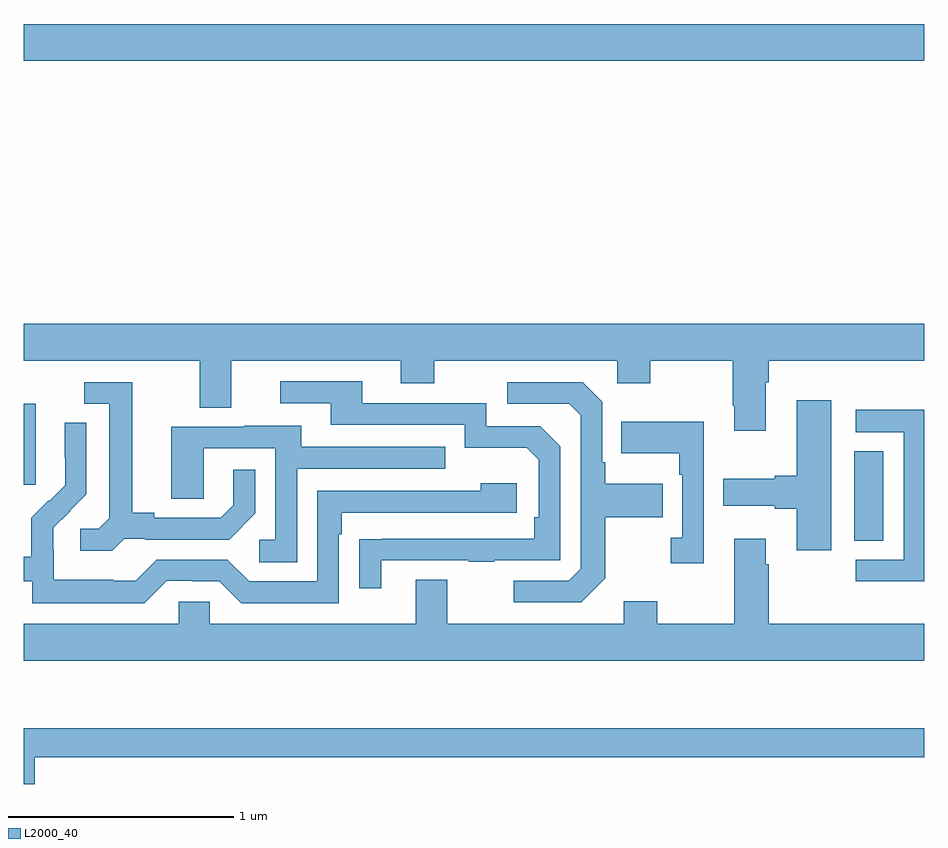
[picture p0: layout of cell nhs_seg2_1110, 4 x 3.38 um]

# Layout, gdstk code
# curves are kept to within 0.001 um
import gdstk
lib = gdstk.Library(unit=1e-6, precision=1e-09)
def R(c, l, rs):  # rectangles x0, y0, x1, y1
    for r in rs: c.add(gdstk.rectangle(r[:2], r[2:], *l))
def P(c, l, *ps):  # polygons
    for p in ps: c.add(gdstk.Polygon(p, *l))
L2000_40 = (2000, 40)

nhs_seg2_1110 = lib.new_cell('nhs_seg2_1110')
R(nhs_seg2_1110, L2000_40, [(172.688,602.881,172.819,603.278), (169,603.129,169.054,603.49), (169,605.012,173,605.176)])
P(nhs_seg2_1110, L2000_40, [(172.297,603.584),(172.31,603.584),(172.31,603.68),(173,603.68),(173,603.844),(169,603.844),(169,603.68),(169.781,603.68),(169.781,603.472),(169.921,603.472),(169.921,603.68),(170.675,603.68),(170.675,603.581),(170.823,603.581),(170.823,603.68),(171.636,603.68),(171.636,603.581),(171.783,603.581),(171.783,603.68),(172.15,603.68),(172.15,603.481),(172.157,603.481),(172.157,603.369),(172.297,603.369)],
  [(170.587,602.793),(170.977,602.793),(170.977,602.788),(171.089,602.788),(171.089,602.793),(171.384,602.793),(171.384,603.3),(171.294,603.39),(171.054,603.39),(171.054,603.492),(170.503,603.492),(170.503,603.588),(170.139,603.588),(170.139,603.492),(170.363,603.492),(170.363,603.396),(170.958,603.396),(170.958,603.293),(171.235,603.293),(171.288,603.24),(171.288,602.986),(171.268,602.986),(171.268,602.889),(170.491,602.888),(170.491,602.67),(170.587,602.67)],
  [(171.583,602.713),(171.583,602.986),(171.839,602.986),(171.839,603.133),(171.583,603.133),(171.583,603.229),(171.57,603.229),(171.57,603.498),(171.483,603.585),(171.147,603.585),(171.147,603.489),(171.423,603.489),(171.474,603.438),(171.474,602.757),(171.42,602.703),(171.177,602.703),(171.177,602.607),(171.477,602.607)],
  [(169.446,602.889),(169.54,602.889),(169.54,602.886),(169.912,602.886),(170.028,603.002),(170.028,603.196),(169.931,603.196),(169.931,603.039),(169.874,602.982),(169.579,602.982),(169.579,603.005),(169.483,603.005),(169.483,603.585),(169.269,603.585),(169.269,603.489),(169.379,603.489),(169.379,602.981),(169.332,602.934),(169.251,602.934),(169.251,602.837),(169.394,602.837)],
  [(172.588,603.505),(172.433,603.505),(172.433,603.17),(172.337,603.17),(172.337,603.157),(172.107,603.157),(172.107,603.035),(172.337,603.035),(172.337,603.023),(172.433,603.023),(172.433,602.838),(172.588,602.838)],
  [(173,603.462),(172.695,603.462),(172.695,603.363),(172.908,603.363),(172.908,602.796),(172.695,602.796),(172.695,602.7),(173,602.7)],
  [(172.02,603.409),(171.655,603.409),(171.655,603.269),(171.912,603.269),(171.912,603.173),(171.924,603.173),(171.924,602.894),(171.873,602.894),(171.873,602.781),(172.02,602.781)],
  [(169.635,602.703),(169.751,602.703),(169.751,602.7),(169.869,602.7),(169.965,602.604),(170.4,602.604),(170.4,602.909),(170.413,602.909),(170.413,603.006),(171.19,603.006),(171.19,603.136),(171.029,603.136),(171.029,603.102),(170.304,603.102),(170.304,602.7),(170.001,602.7),(169.905,602.796),(169.59,602.796),(169.497,602.703),(169.397,602.703),(169.397,602.707),(169.134,602.707),(169.134,602.841),(169.132,602.841),(169.132,602.938),(169.278,603.086),(169.278,603.404),(169.182,603.404),(169.182,603.25),(169.184,603.25),(169.184,603.128),(169.113,603.057),(169.11,603.06),(169.033,602.983),(169.033,602.809),(169,602.809),(169,602.7),(169.038,602.7),(169.038,602.603),(169.535,602.603)],
  [(170.214,603.201),(170.873,603.201),(170.873,603.297),(170.233,603.297),(170.233,603.391),(169.979,603.391),(169.979,603.387),(169.655,603.387),(169.655,603.067),(169.8,603.067),(169.8,603.291),(170.118,603.291),(170.118,602.886),(170.046,602.886),(170.046,602.785),(170.214,602.785)],
  [(173,602.512),(172.31,602.512),(172.31,602.777),(172.297,602.777),(172.297,602.89),(172.157,602.89),(172.157,602.512),(171.813,602.512),(171.813,602.611),(171.665,602.611),(171.665,602.512),(170.881,602.512),(170.881,602.707),(170.741,602.707),(170.741,602.512),(169.827,602.512),(169.827,602.61),(169.689,602.61),(169.689,602.512),(169,602.512),(169,602.348),(173,602.348)],
  [(169.049,601.918),(173,601.918),(173,602.047),(169,602.047),(169,601.8),(169.049,601.8)])

lib.write_gds('nhs_seg2_1110.gds')
